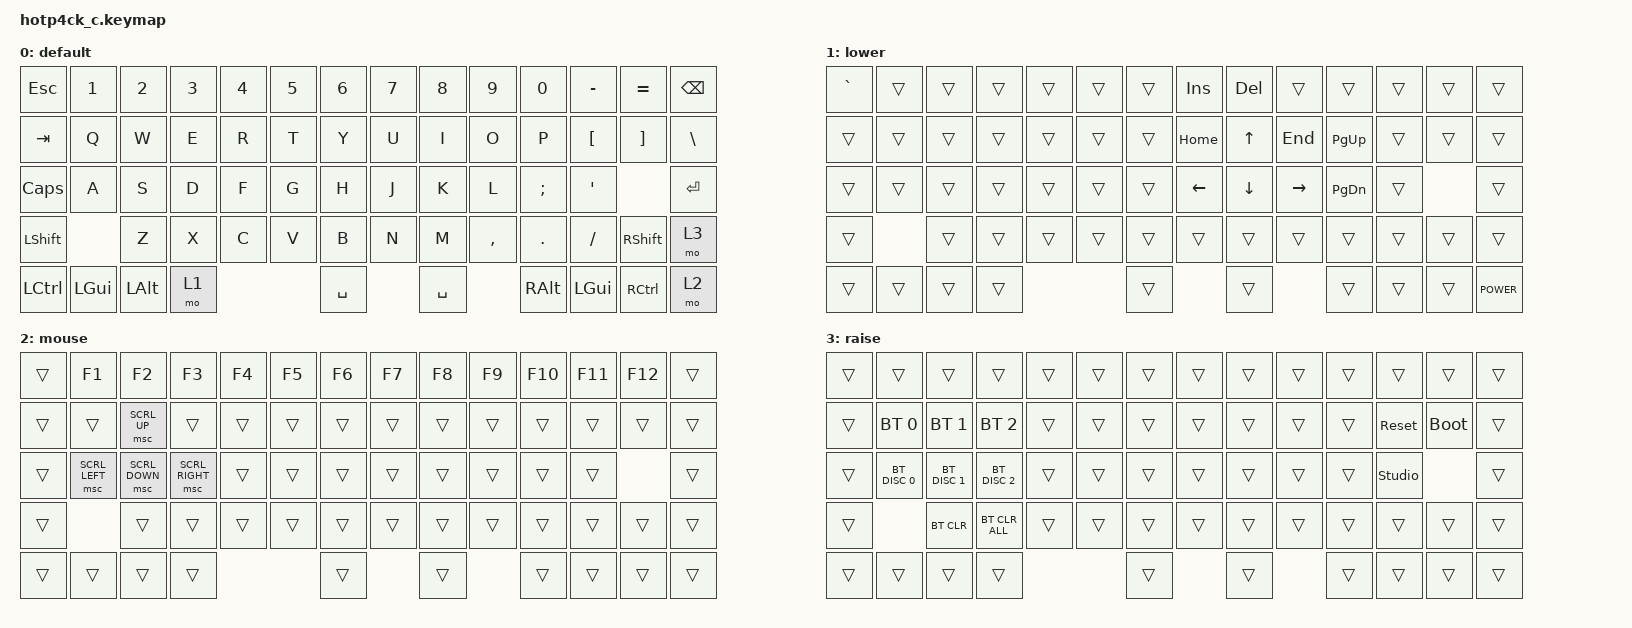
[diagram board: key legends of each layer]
/*
 * Copyright (c) 2021 Nick Winans
 *
 * SPDX-License-Identifier: MIT
 */

#include <behaviors.dtsi>
#include <dt-bindings/zmk/bt.h>
#include <dt-bindings/zmk/keys.h>
#include <dt-bindings/zmk/pointing.h>

#define DEFAULT 0
#define LOWER 1
#define MOUSE 2
#define SYS 3
#define ZMK_POINTING_DEFAULT_MOVE_VAL 1500  // default: 600
#define ZMK_POINTING_DEFAULT_SCRL_VAL 20    // default: 10

/ {
    keymap {
        compatible = "zmk,keymap";

        default {
            // ------------------------------------------------------------------------------------------
            // | ESC |  1  |  2  |  3  |  4  |  5  |  6  |  7  |  8  |  9  |  0  |  -  |  =  |   BKSP   |
            // | TAB  |  Q  |  W  |  E  |  R  |  T  |  Y  |  U  |  I  |  O  |  P  |  [  |  ]  |   "|"   |
            // |  CAPS  |  A  |  S  |  D  |  F  |  G  |  H  |  J  |  K  |  L  |  ;  |  '  |    ENTER    |
            // |  SHIFT  |  Z  |  X  |  C  |  V  |  B  |  N  |  M  |  ,  |  .  |  /  |  SHIFT |  MO(3)  |
            // |  CTL  |  WIN  |  ALT  |  MO(1)  |    SPACE    |  BAR  |  ALT  |  WIN  | CTL |   MO(2)  |
            // ------------------------------------------------------------------------------------------

            bindings = <
&kp ESC    &kp N1    &kp N2    &kp N3  &kp N4  &kp N5  &kp N6     &kp N7  &kp N8     &kp N9     &kp N0    &kp MINUS  &kp EQUAL  &kp BSPC
&kp TAB    &kp Q     &kp W     &kp E   &kp R   &kp T   &kp Y      &kp U   &kp I      &kp O      &kp P     &kp LBKT   &kp RBKT   &kp BSLH
&kp CAPS   &kp A     &kp S     &kp D   &kp F   &kp G   &kp H      &kp J   &kp K      &kp L      &kp SEMI  &kp APOS              &kp ENTER
&kp LSHFT            &kp Z     &kp X   &kp C   &kp V   &kp B      &kp N   &kp M      &kp COMMA  &kp DOT   &kp FSLH   &kp RSHFT  &mo 3
&kp LCTRL  &kp LGUI  &kp LALT  &mo 1                   &kp SPACE          &kp SPACE             &kp RALT  &kp LGUI   &kp RCTRL  &mo 2
            >;
        };

        lower {
            //------------------------------------------------------------------------------------------
            //| grave |     |     |     |     |     |     | INS | DEL |     |     |     |     |   BKSP   |
            //|  TAB  |     |     |     |     |     |     | HOME |  UP  | END | PG_U |     |     |     |
            //|       |     |     |     |     |     |     | LEFT | DOWN | RIGHT | PG_D |     |         |
            //|  SHIFT  |     |     |     |     |     |     |     |     |     |     |                  |
            //|  CRL  |  WIN  |  ALT  |      |    SPACE    |   BAR   |       |       |       | K_POWER |
            //------------------------------------------------------------------------------------------
            bindings = <
&kp GRAVE  &trans  &trans  &trans  &trans  &trans  &trans  &kp INS   &kp DEL   &trans     &trans         &trans  &trans  &trans
&trans     &trans  &trans  &trans  &trans  &trans  &trans  &kp HOME  &kp UP    &kp END    &kp PG_UP      &trans  &trans  &trans
&trans     &trans  &trans  &trans  &trans  &trans  &trans  &kp LEFT  &kp DOWN  &kp RIGHT  &kp PAGE_DOWN  &trans          &trans
&trans             &trans  &trans  &trans  &trans  &trans  &trans    &trans    &trans     &trans         &trans  &trans  &trans
&trans     &trans  &trans  &trans                  &trans            &trans               &trans         &trans  &trans  &kp K_POWER
            >;
        };

        mouse {
            // ------------------------------------------------------------------------------------------
            // |     | F 1 | F 2 | F 3 | F 4 | F 5 | F 6 | F 7 | F 8 | F 9 | F10 | F11 | F12 |          |
            // |      |     | SR_UP |     |    |   |     |      |      |     |      |     |     |      |
            // |       | SR_LF | SR_DW | SR_RI |     |     |     |     |     |      |     |      |         |
            // |         |     |     |     |     |     |     |     |     |     |     |             |
            // |       |       |       |        |             |         |       |       |       |       |
            // ------------------------------------------------------------------------------------------

            bindings = <
&trans  &kp F1          &kp F2          &kp F3           &kp F4  &kp F5  &kp F6  &kp F7  &kp F8  &kp F9  &kp F10  &kp F11  &kp F12  &trans
&trans  &trans          &msc SCRL_UP    &trans           &trans  &trans  &trans  &trans  &trans  &trans  &trans   &trans   &trans   &trans
&trans  &msc SCRL_LEFT  &msc SCRL_DOWN  &msc SCRL_RIGHT  &trans  &trans  &trans  &trans  &trans  &trans  &trans   &trans            &trans
&trans                  &trans          &trans           &trans  &trans  &trans  &trans  &trans  &trans  &trans   &trans   &trans   &trans
&trans  &trans          &trans          &trans                           &trans          &trans          &trans   &trans   &trans   &trans
            >;
        };

        raise {
            // ------------------------------------------------------------------------------------------
            // |     | F 1 | F 2 | F 3 | F 4 | F 5 | F 6 | F 7 | F 8 | F 9 | F10 | F11 | F12 |          |
            // |      | OBT0 | OBT1 | OBT2 |    |   |     |      |      |     |      |     |     |      |
            // |       | CBT0 | CBT1 | CBT2 |     |     |     |     |     |      |     |      | UN_LOCK |
            // |         | CLR | CRL_ALL |     |     |     |     |     |     | sys | boot |             |
            // |       |       |       |        |             |         |       |       |       |       |
            // ------------------------------------------------------------------------------------------

            bindings = <
&trans  &trans         &trans         &trans          &trans  &trans  &trans  &trans  &trans  &trans  &trans  &trans          &trans       &trans
&trans  &bt BT_SEL 0   &bt BT_SEL 1   &bt BT_SEL 2    &trans  &trans  &trans  &trans  &trans  &trans  &trans  &sys_reset      &bootloader  &trans
&trans  &bt BT_DISC 0  &bt BT_DISC 1  &bt BT_DISC 2   &trans  &trans  &trans  &trans  &trans  &trans  &trans  &studio_unlock               &trans
&trans                 &bt BT_CLR     &bt BT_CLR_ALL  &trans  &trans  &trans  &trans  &trans  &trans  &trans  &trans          &trans       &trans
&trans  &trans         &trans         &trans                          &trans          &trans          &trans  &trans          &trans       &trans
            >;
        };
        
    };
};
